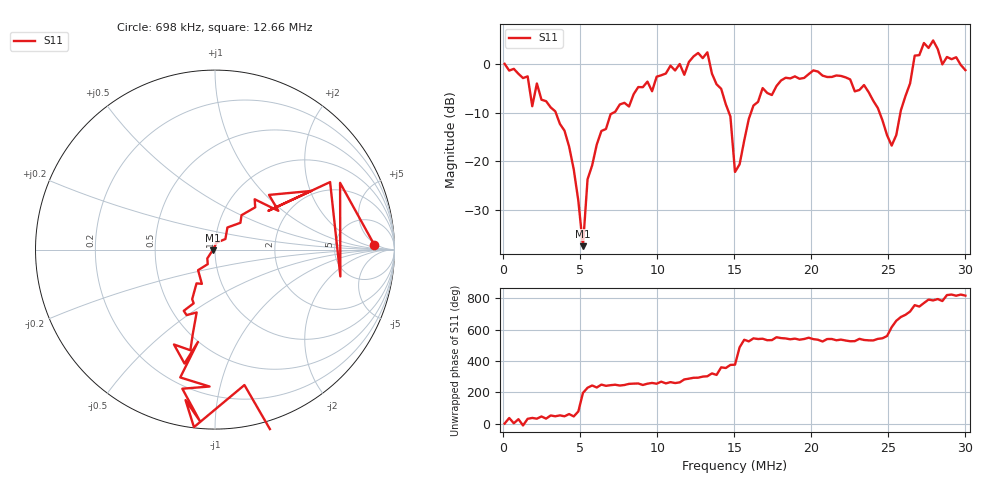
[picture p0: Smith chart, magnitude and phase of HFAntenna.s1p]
# HZ S RI R 50
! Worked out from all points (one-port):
!   101 points, 100 kHz to 30 MHz, reference 50 ohm
!   lowest |S11| = -37.4 dB at 5.183 MHz (marker M1), VSWR 1.03, Z = 48.7 - j0.356 ohm
!   |S11| at or under -10 dB: 3.417 MHz to 7.182 MHz (3.764 MHz wide, 71 % of centre); 14.65 MHz to 16.09 MHz (1.435 MHz wide, 9.33 % of centre); 24.43 MHz to 25.79 MHz (1.358 MHz wide, 5.41 % of centre)
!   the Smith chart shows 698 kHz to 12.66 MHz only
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100000  1 -0.00376
399000  0.6922 0.4974
698000  0.8877 0.0265
997000  0.6969 0.372
1296000  0.6984 -0.1496
1595000  0.6413 0.3763
3987000  0.1418 0.1494
5183000  -0.0129 -0.00365
5482000  -0.0429 -0.0492
7575000  -0.174 -0.341
1.1462e7  -0.1172 -0.9891
1.3256e7  0.7023 -1.109
1.4153e7  0.5546 -0.00499
1.4751e7  0.2784 0.0742
1.505e7  0.0744 0.022
1.6844e7  -0.5632 -0.0224
1.8937e7  -0.7428 -0.0385
2.2525e7  -0.6719 0.1654
2.5216e7  -0.0347 -0.1405
2.6412e7  0.6289 -0.0393
2.6711e7  0.9688 0.7321
2.701e7  1.086 0.5745
2.7309e7  1.045 1.259
2.7608e7  0.4383 1.388
2.7907e7  0.6765 1.601
2.8505e7  0.4439 0.8817
2.8804e7  -0.2347 1.152
3e7  -0.1189 0.8532
